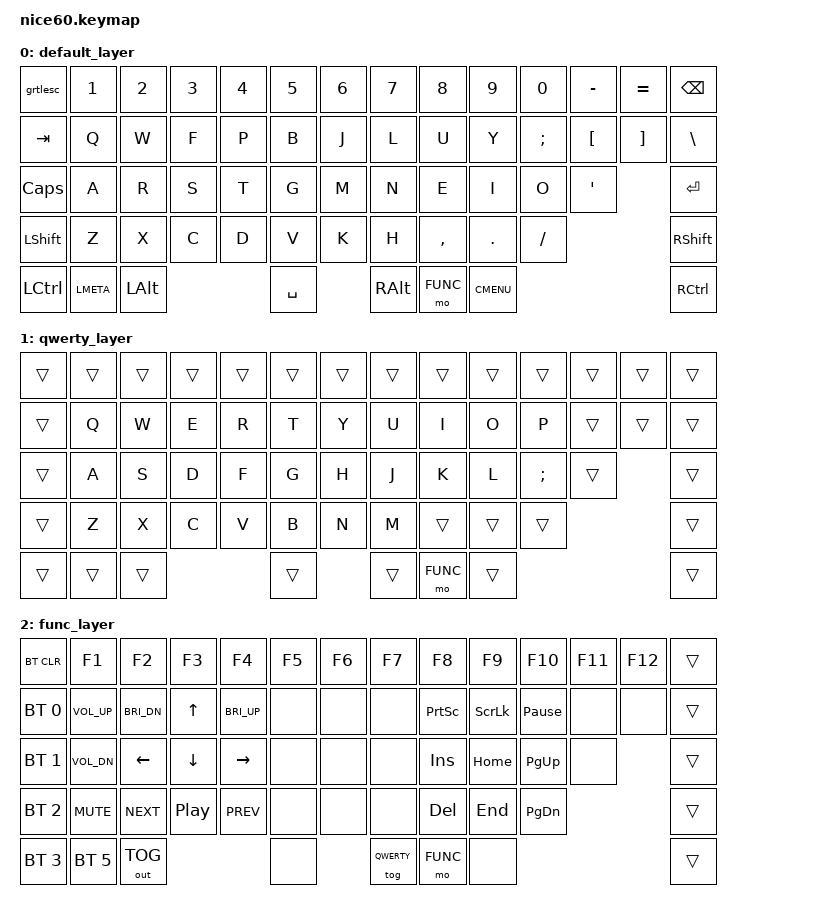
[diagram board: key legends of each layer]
/*
 * Copyright (c) 2021 Nick Winans
 *
 * SPDX-License-Identifier: MIT
 */

#include <behaviors.dtsi>
#include <dt-bindings/zmk/keys.h>
#include <dt-bindings/zmk/bt.h>
#include <dt-bindings/zmk/outputs.h> // USB is Default
// #include <dt-bindings/zmk/rgb.h>

// Layer definitions. Order determines how transparency passes.
#define DEFAULT 0
#define QWERTY  1
#define FUNC    2

/ {
	behaviors {
		// Set the `~ key to act as escape when modified by left control key.
        grtlesc: grave_tilde_escape {
            compatible = "zmk,behavior-mod-morph";
            label = "GRAVE_TILDE_ESCAPE";
            #binding-cells = <0>; // First key definition in keymaps, ie esc in this case
            bindings = <&kp GRAVE>, <&kp ESC>;
            mods = <MOD_LCTL>;
        };
    };

	keymap {
		compatible = "zmk,keymap";

		// Colemak Mod-DH Layout
		// ------------------------------------------------------------------------------------------
		// | GTE |  1  |  2  |  3  |  4  |  5  |  6  |  7  |  8  |  9  |  0  |  -  |  =  |   BKSP   |
		// | TAB  |  Q  |  W  |  F  |  P  |  B  |  J  |  L  |  U  |  Y  |  ;  |  [  |  ]  |   "|"   |
		// | CAPS  |  A  |  R  |  S  |  T  |  G  |  M  |  N  |  E  |  I  |  O  |  '  |     ENTER    |
		// | LSHIFT  |  Z  |  X  |  C  |  D  |  V  |  K  |  H  |  ,  |  .  |  /  |     RSHIFT       |
		// | LCTRL | META  | LALT  |            SPACE             |  RALT  |  FUNC  | C_MENU |RCTRL |
		// ------------------------------------------------------------------------------------------
		default_layer {
			bindings = <
				&grtlesc            &kp N1          &kp N2          &kp N3          &kp N4          &kp N5          &kp N6          &kp N7          &kp N8          &kp N9          &kp N0         &kp MINUS       &kp EQUAL        &kp BSPC
				&kp TAB             &kp Q           &kp W           &kp F           &kp P           &kp B           &kp J           &kp L           &kp U           &kp Y           &kp SEMI       &kp LBKT        &kp RBKT         &kp BSLH
				&kp CLCK            &kp A           &kp R           &kp S           &kp T           &kp G           &kp M           &kp N           &kp E           &kp I           &kp O          &kp APOS                         &kp ENTER
				&kp LSHFT           &kp Z           &kp X           &kp C           &kp D           &kp V           &kp K           &kp H           &kp COMMA       &kp DOT         &kp FSLH                                        &kp RSHFT
				&kp LCTRL           &kp LMETA       &kp LALT                                        &kp SPACE                       &kp RALT        &mo FUNC        &kp K_CMENU                                                     &kp RCTRL
			>;
		};

		// QWERTY toggle for convenience (such as another user borrowing the board).
		// Layer transparency should allow all other keys to pass through to the default layer.
		// Momentary Layer FUNC hardcoded (Should always be present)
		// ------------------------------------------------------------------------------------------
		// |     |     |     |     |     |     |     |     |     |     |     |     |     |          |
		// |      |  Q  |  W  |  E  |  R  |  T  |  Y  |  U  |  I  |  O  |  P  |     |     |         |
		// |       |  A  |  S  |  D  |  F  |  G  |  H  |  J  |  K  |  L  |  ;  |     |              |
		// |         |  Z  |  X  |  C  |  V  |  B  |  N  |  M  |     |     |     |                  |
		// |       |       |       |                              |        |  FUNC  |        |      |
		// ------------------------------------------------------------------------------------------
		qwerty_layer {
			bindings = <
				&trans              &trans          &trans          &trans          &trans          &trans          &trans          &trans          &trans          &trans          &trans         &trans          &trans           &trans
				&trans              &kp Q           &kp W           &kp E           &kp R           &kp T           &kp Y           &kp U           &kp I           &kp O           &kp P          &trans          &trans           &trans
				&trans              &kp A           &kp S           &kp D           &kp F           &kp G           &kp H           &kp J           &kp K           &kp L           &kp SEMI       &trans                           &trans
				&trans              &kp Z           &kp X           &kp C           &kp V           &kp B           &kp N           &kp M           &trans          &trans          &trans                                          &trans
				&trans              &trans          &trans                                          &trans                          &trans          &mo FUNC        &trans                                                          &trans
			>;
		};

		/**
		* func_layer will eventually have keys assigned for RGB underglow settings for the nice!60. Mainly want lights to change based on modifiers or layer adjustments for visual confirmation.		
		*/
		// Function Layer for BLE functionality, FKeys, Nav Keys and some conveince keys.
		// Right-hand mods and keys are transparent, but all others are disabled.
		// Momentary Layer FUNC hardcoded (Should always be present)
		// ------------------------------------------------------------------------------------------
		// | BTC |  F1 |  F2 |  F3 |  F4 |  F5 |  F6 |  F7 |  F8 |  F9 | F10 | F11 | F12 |          |
		// | BT 1 | V_U | B_D |  ↑  | B_U |     |     |     |PSCRN|SLCK |BREAK|     |     |         |
		// | BT 2  | V_D |  ←  |  ↓  |  →  |     |     |     | INS | HOM | PG↑ |     |              |
		// | BT 3    | V_M | NXT | PPL | PRV |     |     |     | DEL | END | PG↓ |                  |
		// | BT 4  | BT 5  | BT TG |                              | QWERTY |  FUNC  |        |      |
		// ------------------------------------------------------------------------------------------
		func_layer {
			bindings = <
				&bt BT_CLR          &kp F1          &kp F2          &kp F3          &kp F4          &kp F5          &kp F6          &kp F7          &kp F8          &kp F9          &kp F10         &kp F11         &kp F12         &trans 
				&bt BT_SEL 0        &kp C_VOL_UP    &kp C_BRI_DN    &kp UP          &kp C_BRI_UP    &none           &none           &none           &kp PSCRN       &kp SLCK        &kp PAUSE_BREAK &none           &none           &trans 
				&bt BT_SEL 1        &kp C_VOL_DN    &kp LEFT        &kp DOWN        &kp RIGHT       &none           &none           &none           &kp INS         &kp HOME        &kp PG_UP       &none                           &trans 
				&bt BT_SEL 2        &kp C_MUTE      &kp C_NEXT      &kp C_PP        &kp C_PREV      &none           &none           &none           &kp DEL         &kp END         &kp PG_DN                                       &trans 
				&bt BT_SEL 3        &bt BT_SEL 5    &out OUT_TOG                                    &none                           &tog QWERTY     &mo FUNC        &none                                                           &trans 
			>;
		};
	};
};
